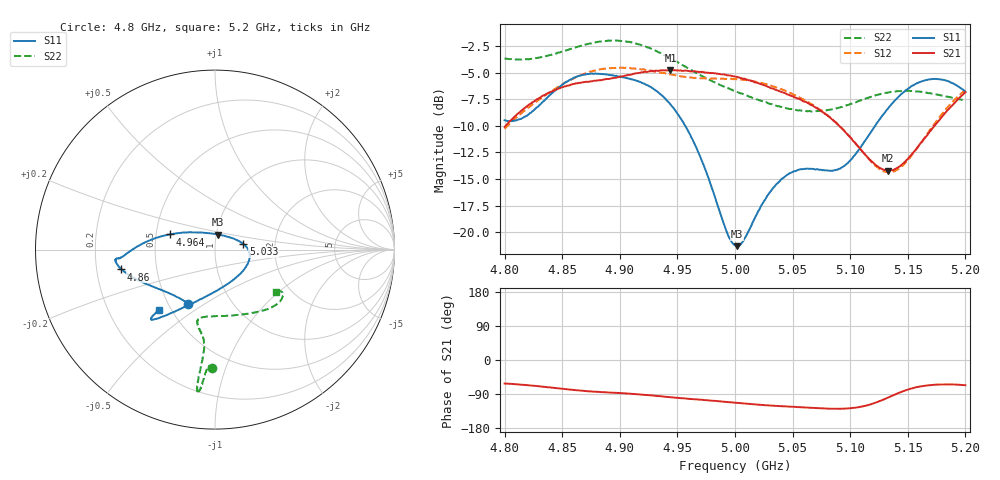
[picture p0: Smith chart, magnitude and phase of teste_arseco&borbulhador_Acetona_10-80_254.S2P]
! Network Analyzer HP8722D
! Hewlett-Packard
! Data name: Linha & Wilkinson
! Saver's name: Rodrigo Anjos
! Comments: Teste da utilização de aquisição
! continua pelo VNA HP8722D
! Time and date: 17/4/2025 16:28
!  Frequency  S11  S21  S12  S22
# HZ  S  MA R 50
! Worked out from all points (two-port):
!   401 points, 4.8 GHz to 5.2 GHz, reference 50 ohm
!   highest |S21| = -4.73 dB at 4.944 GHz (marker M1); lowest = -14.2 dB at 5.133 GHz (marker M2)
!   |S21| within 3 dB of the highest: 4.825 GHz to 5.061 GHz (236.3 MHz wide, 4.78 % of centre); 5.191424 GHz to end of sweep
!   lowest |S11| = -21.3 dB at 5.002 GHz (marker M3), VSWR 1.19, Z = 51.1 + j8.64 ohm
!   |S11| at or under -10 dB: 4.957 GHz to 5.122 GHz (164.7 MHz wide, 3.27 % of centre)
!   |S22| runs from -8.6 to -1.9 dB; largest |S21 - S12| = 0.87
!   S11 on the Smith chart (normalised r, x): 4.8 GHz: 0.63, -0.43; 4.86 GHz: 0.31, -0.09; 4.964 GHz: 0.59, +0.11; 5.033 GHz: 1.37, +0.09; 5.2 GHz: 0.43, -0.37
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4.8e9  0.3365 -116.4  0.3127 -62.2  0.3068 -176.3  0.6581 -91.3
4.819e9  0.3534 -136.7  0.3904 -66.2  0.3794 -175.9  0.6531 -92.9
4.86e9  0.5338 -168.1  0.4986 -79.0  0.5298 -179.3  0.7369 -95.2
4.867e9  0.5486 -170.8  0.5071 -81.0  0.5525 179.5  0.7567 -95.6
4.9e9  0.5408 -174.9  0.5394 -87.3  0.5949 173.5  0.7969 -96.9
4.934e9  0.4525 179.4  0.5756 -95.4  0.567 170.2  0.7023 -97.2
4.944e9  0.4 174.8  0.5803 -98.1  0.5531 170.4  0.6596 -96.9
4.964e9  0.267 161.5  0.5728 -103.3  0.5329 172.1  0.5714 -96.3
4.993e9  0.0997 112.6  0.5479 -110.8  0.5273 174.5  0.4783 -98.7
5e9  0.08657 86.4  0.5406 -112.9  0.527 174.5  0.4624 -100.2
5.002e9  0.0858 78.1  0.5385 -113.3  0.5245 174.3  0.4576 -100.5
5.033e9  0.1612 11.6  0.4747 -120.7  0.4863 172.9  0.3994 -103.5
5.049e9  0.1907 -3.8  0.4377 -123.2  0.4502 172.6  0.38 -98.7
5.067e9  0.1986 -23.2  0.3958 -126.3  0.3999 172.3  0.3705 -88.6
5.096e9  0.2073 -73.6  0.2946 -128.2  0.2958 174.7  0.394 -66.1
5.121e9  0.3131 -110.9  0.2094 -113.9  0.2073 -168.9  0.439 -49.5
5.133e9  0.3836 -120.2  0.195 -98.9  0.1912 -152.1  0.455 -43.7
5.134e9  0.3894 -121.0  0.1953 -97.6  0.1909 -150.7  0.4563 -43.2
5.148e9  0.4649 -127.3  0.2155 -80.2  0.212 -130.3  0.4628 -38.1
5.167e9  0.5213 -131.7  0.2865 -67.1  0.291 -113.5  0.4531 -33.5
5.184e9  0.5155 -133.1  0.3731 -64.4  0.3844 -108.6  0.435 -32.2
5.2e9  0.4586 -133.0  0.4554 -66.6  0.4668 -108.7  0.4169 -34.8
